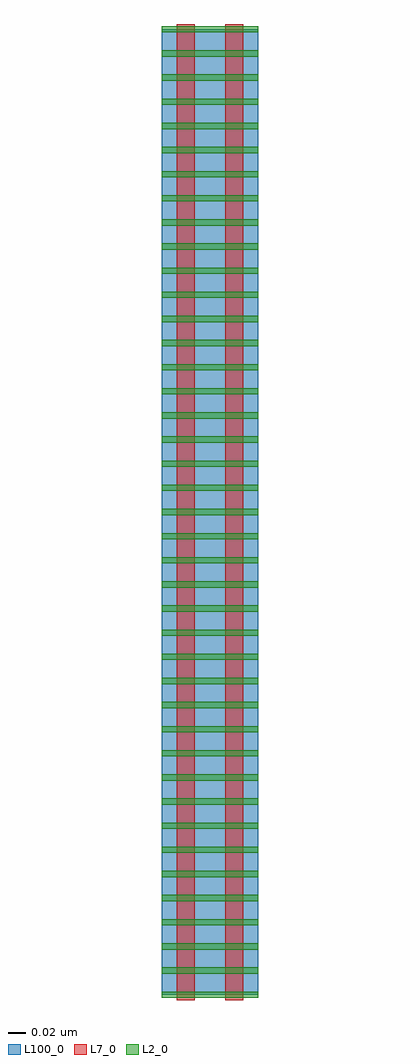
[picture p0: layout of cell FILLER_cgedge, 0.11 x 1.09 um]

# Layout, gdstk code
from math import pi, radians
import gdstk
lib = gdstk.Library(unit=1e-6, precision=2.5e-10)
def R(c, l, rs):  # rectangles x0, y0, x1, y1
    for r in rs: c.add(gdstk.rectangle(r[:2], r[2:], *l))
def A(c, l, x, y, w, h, nx, ny, dx, dy):  # array of equal rectangles
    R(c, l, [(x+i*dx, y+j*dy, x+i*dx+w, y+j*dy+h) for i in range(nx) for j in range(ny)])
L2_0 = (2, 0)
L7_0 = (7, 0)
L100_0 = (100, 0)

filler_blank_6t122 = lib.new_cell('FILLER_BLANK_6t122')
A(filler_blank_6t122, L2_0, 0, -0.0035, 0.054, 0.007, 1, 11, 0, 0.027)
R(filler_blank_6t122, L7_0, [(0.017,-0.006,0.037,0.2765)])
R(filler_blank_6t122, L100_0, [(0,0,0.054,0.27)])

filler_cgedge = lib.new_cell('FILLER_cgedge')
r = gdstk.Reference(filler_blank_6t122, (0.054,0.546)); r.repetition = gdstk.Repetition(1, 1, v1=(0,0), v2=(0,0)); filler_cgedge.add(r)
r = gdstk.Reference(filler_blank_6t122, (0.054,0.006)); r.repetition = gdstk.Repetition(1, 1, v1=(0,0), v2=(0,0)); filler_cgedge.add(r)
r = gdstk.Reference(filler_blank_6t122, (0.054,1.086), rotation=pi); r.repetition = gdstk.Repetition(1, 1, v1=(0,0), v2=(0,0)); filler_cgedge.add(r)
r = gdstk.Reference(filler_blank_6t122, (0.054,0.546), rotation=pi); r.repetition = gdstk.Repetition(1, 1, v1=(0,0), v2=(0,0)); filler_cgedge.add(r)
r = gdstk.Reference(filler_blank_6t122, (0.054,1.086), x_reflection=True); r.repetition = gdstk.Repetition(1, 1, v1=(0,0), v2=(0,0)); filler_cgedge.add(r)
r = gdstk.Reference(filler_blank_6t122, (0.054,0.546), x_reflection=True); r.repetition = gdstk.Repetition(1, 1, v1=(0,0), v2=(0,0)); filler_cgedge.add(r)
r = gdstk.Reference(filler_blank_6t122, (0.054,0.546), rotation=pi, x_reflection=True); r.repetition = gdstk.Repetition(1, 1, v1=(0,0), v2=(0,0)); filler_cgedge.add(r)
r = gdstk.Reference(filler_blank_6t122, (0.054,0.006), rotation=pi, x_reflection=True); r.repetition = gdstk.Repetition(1, 1, v1=(0,0), v2=(0,0)); filler_cgedge.add(r)

lib.write_gds('FILLER_cgedge.gds')
